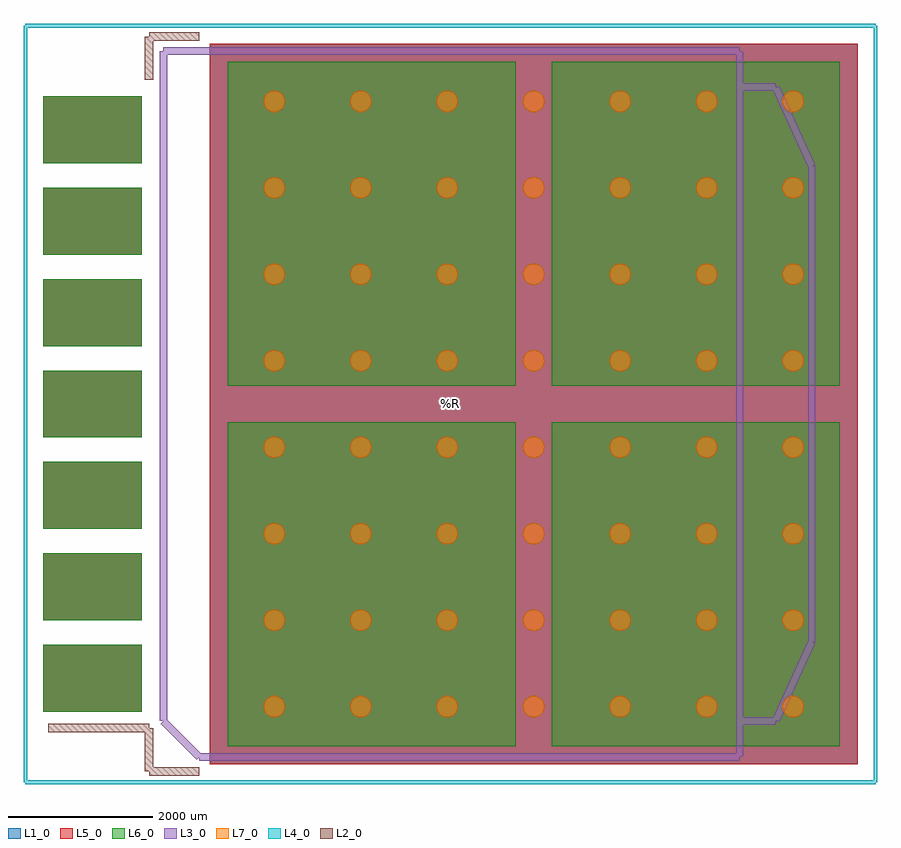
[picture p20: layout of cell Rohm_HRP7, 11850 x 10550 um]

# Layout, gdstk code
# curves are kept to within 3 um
import gdstk
lib = gdstk.Library(unit=1e-6, precision=1e-09)
def R(c, l, rs):  # rectangles x0, y0, x1, y1
    for r in rs: c.add(gdstk.rectangle(r[:2], r[2:], *l))
def A(c, l, x, y, w, h, nx, ny, dx, dy):  # array of equal rectangles
    R(c, l, [(x+i*dx, y+j*dy, x+i*dx+w, y+j*dy+h) for i in range(nx) for j in range(ny)])
def P(c, l, *ps):  # polygons
    for p in ps: c.add(gdstk.Polygon(p, *l))
L1_0 = (1, 0)
L2_0 = (2, 0)
L3_0 = (3, 0)
L4_0 = (4, 0)
L5_0 = (5, 0)
L6_0 = (6, 0)
L7_0 = (7, 0)

rohm_hrp7 = lib.new_cell('Rohm_HRP7')
A(rohm_hrp7, L1_0, -5655, -4275, 1370, 930, 1, 7, 0, 1270)
R(rohm_hrp7, L1_0, [(-3345,-5000,5655,5000), (-3345,-5000,5655,5000)])
P(rohm_hrp7, L1_0, [(-2145,-4200),(-2168,-4085),(-2233,-3988),(-2330,-3923),(-2445,-3900),(-2560,-3923),(-2657,-3988),(-2722,-4085),(-2745,-4200),(-2722,-4315),(-2657,-4412),(-2560,-4477),(-2445,-4500),(-2330,-4477),(-2233,-4412),(-2168,-4315)],
  [(-2145,-3000),(-2168,-2885),(-2233,-2788),(-2330,-2723),(-2445,-2700),(-2560,-2723),(-2657,-2788),(-2722,-2885),(-2745,-3000),(-2722,-3115),(-2657,-3212),(-2560,-3277),(-2445,-3300),(-2330,-3277),(-2233,-3212),(-2168,-3115)],
  [(-2145,-1800),(-2168,-1685),(-2233,-1588),(-2330,-1523),(-2445,-1500),(-2560,-1523),(-2657,-1588),(-2722,-1685),(-2745,-1800),(-2722,-1915),(-2657,-2012),(-2560,-2077),(-2445,-2100),(-2330,-2077),(-2233,-2012),(-2168,-1915)],
  [(-2145,-600),(-2168,-485),(-2233,-388),(-2330,-323),(-2445,-300),(-2560,-323),(-2657,-388),(-2722,-485),(-2745,-600),(-2722,-715),(-2657,-812),(-2560,-877),(-2445,-900),(-2330,-877),(-2233,-812),(-2168,-715)],
  [(-2145,600),(-2168,715),(-2233,812),(-2330,877),(-2445,900),(-2560,877),(-2657,812),(-2722,715),(-2745,600),(-2722,485),(-2657,388),(-2560,323),(-2445,300),(-2330,323),(-2233,388),(-2168,485)],
  [(-2145,1800),(-2168,1915),(-2233,2012),(-2330,2077),(-2445,2100),(-2560,2077),(-2657,2012),(-2722,1915),(-2745,1800),(-2722,1685),(-2657,1588),(-2560,1523),(-2445,1500),(-2330,1523),(-2233,1588),(-2168,1685)],
  [(-2145,3000),(-2168,3115),(-2233,3212),(-2330,3277),(-2445,3300),(-2560,3277),(-2657,3212),(-2722,3115),(-2745,3000),(-2722,2885),(-2657,2788),(-2560,2723),(-2445,2700),(-2330,2723),(-2233,2788),(-2168,2885)],
  [(-2145,4200),(-2168,4315),(-2233,4412),(-2330,4477),(-2445,4500),(-2560,4477),(-2657,4412),(-2722,4315),(-2745,4200),(-2722,4085),(-2657,3988),(-2560,3923),(-2445,3900),(-2330,3923),(-2233,3988),(-2168,4085)],
  [(-945,-4200),(-968,-4085),(-1033,-3988),(-1130,-3923),(-1245,-3900),(-1360,-3923),(-1457,-3988),(-1522,-4085),(-1545,-4200),(-1522,-4315),(-1457,-4412),(-1360,-4477),(-1245,-4500),(-1130,-4477),(-1033,-4412),(-968,-4315)],
  [(-945,-3000),(-968,-2885),(-1033,-2788),(-1130,-2723),(-1245,-2700),(-1360,-2723),(-1457,-2788),(-1522,-2885),(-1545,-3000),(-1522,-3115),(-1457,-3212),(-1360,-3277),(-1245,-3300),(-1130,-3277),(-1033,-3212),(-968,-3115)],
  [(-945,-1800),(-968,-1685),(-1033,-1588),(-1130,-1523),(-1245,-1500),(-1360,-1523),(-1457,-1588),(-1522,-1685),(-1545,-1800),(-1522,-1915),(-1457,-2012),(-1360,-2077),(-1245,-2100),(-1130,-2077),(-1033,-2012),(-968,-1915)],
  [(-945,-600),(-968,-485),(-1033,-388),(-1130,-323),(-1245,-300),(-1360,-323),(-1457,-388),(-1522,-485),(-1545,-600),(-1522,-715),(-1457,-812),(-1360,-877),(-1245,-900),(-1130,-877),(-1033,-812),(-968,-715)],
  [(-945,600),(-968,715),(-1033,812),(-1130,877),(-1245,900),(-1360,877),(-1457,812),(-1522,715),(-1545,600),(-1522,485),(-1457,388),(-1360,323),(-1245,300),(-1130,323),(-1033,388),(-968,485)],
  [(-945,1800),(-968,1915),(-1033,2012),(-1130,2077),(-1245,2100),(-1360,2077),(-1457,2012),(-1522,1915),(-1545,1800),(-1522,1685),(-1457,1588),(-1360,1523),(-1245,1500),(-1130,1523),(-1033,1588),(-968,1685)],
  [(-945,3000),(-968,3115),(-1033,3212),(-1130,3277),(-1245,3300),(-1360,3277),(-1457,3212),(-1522,3115),(-1545,3000),(-1522,2885),(-1457,2788),(-1360,2723),(-1245,2700),(-1130,2723),(-1033,2788),(-968,2885)],
  [(-945,4200),(-968,4315),(-1033,4412),(-1130,4477),(-1245,4500),(-1360,4477),(-1457,4412),(-1522,4315),(-1545,4200),(-1522,4085),(-1457,3988),(-1360,3923),(-1245,3900),(-1130,3923),(-1033,3988),(-968,4085)],
  [(255,-4200),(232,-4085),(167,-3988),(70,-3923),(-45,-3900),(-160,-3923),(-257,-3988),(-322,-4085),(-345,-4200),(-322,-4315),(-257,-4412),(-160,-4477),(-45,-4500),(70,-4477),(167,-4412),(232,-4315)],
  [(255,-3000),(232,-2885),(167,-2788),(70,-2723),(-45,-2700),(-160,-2723),(-257,-2788),(-322,-2885),(-345,-3000),(-322,-3115),(-257,-3212),(-160,-3277),(-45,-3300),(70,-3277),(167,-3212),(232,-3115)],
  [(255,-1800),(232,-1685),(167,-1588),(70,-1523),(-45,-1500),(-160,-1523),(-257,-1588),(-322,-1685),(-345,-1800),(-322,-1915),(-257,-2012),(-160,-2077),(-45,-2100),(70,-2077),(167,-2012),(232,-1915)],
  [(255,-600),(232,-485),(167,-388),(70,-323),(-45,-300),(-160,-323),(-257,-388),(-322,-485),(-345,-600),(-322,-715),(-257,-812),(-160,-877),(-45,-900),(70,-877),(167,-812),(232,-715)],
  [(255,600),(232,715),(167,812),(70,877),(-45,900),(-160,877),(-257,812),(-322,715),(-345,600),(-322,485),(-257,388),(-160,323),(-45,300),(70,323),(167,388),(232,485)],
  [(255,1800),(232,1915),(167,2012),(70,2077),(-45,2100),(-160,2077),(-257,2012),(-322,1915),(-345,1800),(-322,1685),(-257,1588),(-160,1523),(-45,1500),(70,1523),(167,1588),(232,1685)],
  [(255,3000),(232,3115),(167,3212),(70,3277),(-45,3300),(-160,3277),(-257,3212),(-322,3115),(-345,3000),(-322,2885),(-257,2788),(-160,2723),(-45,2700),(70,2723),(167,2788),(232,2885)],
  [(255,4200),(232,4315),(167,4412),(70,4477),(-45,4500),(-160,4477),(-257,4412),(-322,4315),(-345,4200),(-322,4085),(-257,3988),(-160,3923),(-45,3900),(70,3923),(167,3988),(232,4085)],
  [(1455,-4200),(1432,-4085),(1367,-3988),(1270,-3923),(1155,-3900),(1040,-3923),(943,-3988),(878,-4085),(855,-4200),(878,-4315),(943,-4412),(1040,-4477),(1155,-4500),(1270,-4477),(1367,-4412),(1432,-4315)],
  [(1455,-3000),(1432,-2885),(1367,-2788),(1270,-2723),(1155,-2700),(1040,-2723),(943,-2788),(878,-2885),(855,-3000),(878,-3115),(943,-3212),(1040,-3277),(1155,-3300),(1270,-3277),(1367,-3212),(1432,-3115)],
  [(1455,-1800),(1432,-1685),(1367,-1588),(1270,-1523),(1155,-1500),(1040,-1523),(943,-1588),(878,-1685),(855,-1800),(878,-1915),(943,-2012),(1040,-2077),(1155,-2100),(1270,-2077),(1367,-2012),(1432,-1915)],
  [(1455,-600),(1432,-485),(1367,-388),(1270,-323),(1155,-300),(1040,-323),(943,-388),(878,-485),(855,-600),(878,-715),(943,-812),(1040,-877),(1155,-900),(1270,-877),(1367,-812),(1432,-715)],
  [(1455,600),(1432,715),(1367,812),(1270,877),(1155,900),(1040,877),(943,812),(878,715),(855,600),(878,485),(943,388),(1040,323),(1155,300),(1270,323),(1367,388),(1432,485)],
  [(1455,1800),(1432,1915),(1367,2012),(1270,2077),(1155,2100),(1040,2077),(943,2012),(878,1915),(855,1800),(878,1685),(943,1588),(1040,1523),(1155,1500),(1270,1523),(1367,1588),(1432,1685)],
  [(1455,3000),(1432,3115),(1367,3212),(1270,3277),(1155,3300),(1040,3277),(943,3212),(878,3115),(855,3000),(878,2885),(943,2788),(1040,2723),(1155,2700),(1270,2723),(1367,2788),(1432,2885)],
  [(1455,4200),(1432,4315),(1367,4412),(1270,4477),(1155,4500),(1040,4477),(943,4412),(878,4315),(855,4200),(878,4085),(943,3988),(1040,3923),(1155,3900),(1270,3923),(1367,3988),(1432,4085)],
  [(2655,-4200),(2632,-4085),(2567,-3988),(2470,-3923),(2355,-3900),(2240,-3923),(2143,-3988),(2078,-4085),(2055,-4200),(2078,-4315),(2143,-4412),(2240,-4477),(2355,-4500),(2470,-4477),(2567,-4412),(2632,-4315)],
  [(2655,-3000),(2632,-2885),(2567,-2788),(2470,-2723),(2355,-2700),(2240,-2723),(2143,-2788),(2078,-2885),(2055,-3000),(2078,-3115),(2143,-3212),(2240,-3277),(2355,-3300),(2470,-3277),(2567,-3212),(2632,-3115)],
  [(2655,-1800),(2632,-1685),(2567,-1588),(2470,-1523),(2355,-1500),(2240,-1523),(2143,-1588),(2078,-1685),(2055,-1800),(2078,-1915),(2143,-2012),(2240,-2077),(2355,-2100),(2470,-2077),(2567,-2012),(2632,-1915)],
  [(2655,-600),(2632,-485),(2567,-388),(2470,-323),(2355,-300),(2240,-323),(2143,-388),(2078,-485),(2055,-600),(2078,-715),(2143,-812),(2240,-877),(2355,-900),(2470,-877),(2567,-812),(2632,-715)],
  [(2655,600),(2632,715),(2567,812),(2470,877),(2355,900),(2240,877),(2143,812),(2078,715),(2055,600),(2078,485),(2143,388),(2240,323),(2355,300),(2470,323),(2567,388),(2632,485)],
  [(2655,1800),(2632,1915),(2567,2012),(2470,2077),(2355,2100),(2240,2077),(2143,2012),(2078,1915),(2055,1800),(2078,1685),(2143,1588),(2240,1523),(2355,1500),(2470,1523),(2567,1588),(2632,1685)],
  [(2655,3000),(2632,3115),(2567,3212),(2470,3277),(2355,3300),(2240,3277),(2143,3212),(2078,3115),(2055,3000),(2078,2885),(2143,2788),(2240,2723),(2355,2700),(2470,2723),(2567,2788),(2632,2885)],
  [(2655,4200),(2632,4315),(2567,4412),(2470,4477),(2355,4500),(2240,4477),(2143,4412),(2078,4315),(2055,4200),(2078,4085),(2143,3988),(2240,3923),(2355,3900),(2470,3923),(2567,3988),(2632,4085)],
  [(3855,-4200),(3832,-4085),(3767,-3988),(3670,-3923),(3555,-3900),(3440,-3923),(3343,-3988),(3278,-4085),(3255,-4200),(3278,-4315),(3343,-4412),(3440,-4477),(3555,-4500),(3670,-4477),(3767,-4412),(3832,-4315)],
  [(3855,-3000),(3832,-2885),(3767,-2788),(3670,-2723),(3555,-2700),(3440,-2723),(3343,-2788),(3278,-2885),(3255,-3000),(3278,-3115),(3343,-3212),(3440,-3277),(3555,-3300),(3670,-3277),(3767,-3212),(3832,-3115)],
  [(3855,-1800),(3832,-1685),(3767,-1588),(3670,-1523),(3555,-1500),(3440,-1523),(3343,-1588),(3278,-1685),(3255,-1800),(3278,-1915),(3343,-2012),(3440,-2077),(3555,-2100),(3670,-2077),(3767,-2012),(3832,-1915)],
  [(3855,-600),(3832,-485),(3767,-388),(3670,-323),(3555,-300),(3440,-323),(3343,-388),(3278,-485),(3255,-600),(3278,-715),(3343,-812),(3440,-877),(3555,-900),(3670,-877),(3767,-812),(3832,-715)],
  [(3855,600),(3832,715),(3767,812),(3670,877),(3555,900),(3440,877),(3343,812),(3278,715),(3255,600),(3278,485),(3343,388),(3440,323),(3555,300),(3670,323),(3767,388),(3832,485)],
  [(3855,1800),(3832,1915),(3767,2012),(3670,2077),(3555,2100),(3440,2077),(3343,2012),(3278,1915),(3255,1800),(3278,1685),(3343,1588),(3440,1523),(3555,1500),(3670,1523),(3767,1588),(3832,1685)],
  [(3855,3000),(3832,3115),(3767,3212),(3670,3277),(3555,3300),(3440,3277),(3343,3212),(3278,3115),(3255,3000),(3278,2885),(3343,2788),(3440,2723),(3555,2700),(3670,2723),(3767,2788),(3832,2885)],
  [(3855,4200),(3832,4315),(3767,4412),(3670,4477),(3555,4500),(3440,4477),(3343,4412),(3278,4315),(3255,4200),(3278,4085),(3343,3988),(3440,3923),(3555,3900),(3670,3923),(3767,3988),(3832,4085)],
  [(5055,-4200),(5032,-4085),(4967,-3988),(4870,-3923),(4755,-3900),(4640,-3923),(4543,-3988),(4478,-4085),(4455,-4200),(4478,-4315),(4543,-4412),(4640,-4477),(4755,-4500),(4870,-4477),(4967,-4412),(5032,-4315)],
  [(5055,-3000),(5032,-2885),(4967,-2788),(4870,-2723),(4755,-2700),(4640,-2723),(4543,-2788),(4478,-2885),(4455,-3000),(4478,-3115),(4543,-3212),(4640,-3277),(4755,-3300),(4870,-3277),(4967,-3212),(5032,-3115)],
  [(5055,-1800),(5032,-1685),(4967,-1588),(4870,-1523),(4755,-1500),(4640,-1523),(4543,-1588),(4478,-1685),(4455,-1800),(4478,-1915),(4543,-2012),(4640,-2077),(4755,-2100),(4870,-2077),(4967,-2012),(5032,-1915)],
  [(5055,-600),(5032,-485),(4967,-388),(4870,-323),(4755,-300),(4640,-323),(4543,-388),(4478,-485),(4455,-600),(4478,-715),(4543,-812),(4640,-877),(4755,-900),(4870,-877),(4967,-812),(5032,-715)],
  [(5055,600),(5032,715),(4967,812),(4870,877),(4755,900),(4640,877),(4543,812),(4478,715),(4455,600),(4478,485),(4543,388),(4640,323),(4755,300),(4870,323),(4967,388),(5032,485)],
  [(5055,1800),(5032,1915),(4967,2012),(4870,2077),(4755,2100),(4640,2077),(4543,2012),(4478,1915),(4455,1800),(4478,1685),(4543,1588),(4640,1523),(4755,1500),(4870,1523),(4967,1588),(5032,1685)],
  [(5055,3000),(5032,3115),(4967,3212),(4870,3277),(4755,3300),(4640,3277),(4543,3212),(4478,3115),(4455,3000),(4478,2885),(4543,2788),(4640,2723),(4755,2700),(4870,2723),(4967,2788),(5032,2885)],
  [(5055,4200),(5032,4315),(4967,4412),(4870,4477),(4755,4500),(4640,4477),(4543,4412),(4478,4315),(4455,4200),(4478,4085),(4543,3988),(4640,3923),(4755,3900),(4870,3923),(4967,3988),(5032,4085)])
A(rohm_hrp7, L5_0, -5655, -4275, 1370, 930, 1, 7, 0, 1270)
R(rohm_hrp7, L5_0, [(-3345,-5000,5655,5000)])
A(rohm_hrp7, L6_0, -5655, -4275, 1370, 930, 1, 7, 0, 1270)
R(rohm_hrp7, L6_0, [(-3095,-4750,905,-250), (1405,-4750,5405,-250), (-3095,250,905,4750), (1405,250,5405,4750)])
P(rohm_hrp7, L7_0, [(-2295,-4200),(-2306,-4143),(-2339,-4094),(-2388,-4061),(-2445,-4050),(-2502,-4061),(-2551,-4094),(-2584,-4143),(-2595,-4200),(-2584,-4257),(-2551,-4306),(-2502,-4339),(-2445,-4350),(-2388,-4339),(-2339,-4306),(-2306,-4257)],
  [(-2295,-3000),(-2306,-2943),(-2339,-2894),(-2388,-2861),(-2445,-2850),(-2502,-2861),(-2551,-2894),(-2584,-2943),(-2595,-3000),(-2584,-3057),(-2551,-3106),(-2502,-3139),(-2445,-3150),(-2388,-3139),(-2339,-3106),(-2306,-3057)],
  [(-2295,-1800),(-2306,-1743),(-2339,-1694),(-2388,-1661),(-2445,-1650),(-2502,-1661),(-2551,-1694),(-2584,-1743),(-2595,-1800),(-2584,-1857),(-2551,-1906),(-2502,-1939),(-2445,-1950),(-2388,-1939),(-2339,-1906),(-2306,-1857)],
  [(-2295,-600),(-2306,-543),(-2339,-494),(-2388,-461),(-2445,-450),(-2502,-461),(-2551,-494),(-2584,-543),(-2595,-600),(-2584,-657),(-2551,-706),(-2502,-739),(-2445,-750),(-2388,-739),(-2339,-706),(-2306,-657)],
  [(-2295,600),(-2306,657),(-2339,706),(-2388,739),(-2445,750),(-2502,739),(-2551,706),(-2584,657),(-2595,600),(-2584,543),(-2551,494),(-2502,461),(-2445,450),(-2388,461),(-2339,494),(-2306,543)],
  [(-2295,1800),(-2306,1857),(-2339,1906),(-2388,1939),(-2445,1950),(-2502,1939),(-2551,1906),(-2584,1857),(-2595,1800),(-2584,1743),(-2551,1694),(-2502,1661),(-2445,1650),(-2388,1661),(-2339,1694),(-2306,1743)],
  [(-2295,3000),(-2306,3057),(-2339,3106),(-2388,3139),(-2445,3150),(-2502,3139),(-2551,3106),(-2584,3057),(-2595,3000),(-2584,2943),(-2551,2894),(-2502,2861),(-2445,2850),(-2388,2861),(-2339,2894),(-2306,2943)],
  [(-2295,4200),(-2306,4257),(-2339,4306),(-2388,4339),(-2445,4350),(-2502,4339),(-2551,4306),(-2584,4257),(-2595,4200),(-2584,4143),(-2551,4094),(-2502,4061),(-2445,4050),(-2388,4061),(-2339,4094),(-2306,4143)],
  [(-1095,-4200),(-1106,-4143),(-1139,-4094),(-1188,-4061),(-1245,-4050),(-1302,-4061),(-1351,-4094),(-1384,-4143),(-1395,-4200),(-1384,-4257),(-1351,-4306),(-1302,-4339),(-1245,-4350),(-1188,-4339),(-1139,-4306),(-1106,-4257)],
  [(-1095,-3000),(-1106,-2943),(-1139,-2894),(-1188,-2861),(-1245,-2850),(-1302,-2861),(-1351,-2894),(-1384,-2943),(-1395,-3000),(-1384,-3057),(-1351,-3106),(-1302,-3139),(-1245,-3150),(-1188,-3139),(-1139,-3106),(-1106,-3057)],
  [(-1095,-1800),(-1106,-1743),(-1139,-1694),(-1188,-1661),(-1245,-1650),(-1302,-1661),(-1351,-1694),(-1384,-1743),(-1395,-1800),(-1384,-1857),(-1351,-1906),(-1302,-1939),(-1245,-1950),(-1188,-1939),(-1139,-1906),(-1106,-1857)],
  [(-1095,-600),(-1106,-543),(-1139,-494),(-1188,-461),(-1245,-450),(-1302,-461),(-1351,-494),(-1384,-543),(-1395,-600),(-1384,-657),(-1351,-706),(-1302,-739),(-1245,-750),(-1188,-739),(-1139,-706),(-1106,-657)],
  [(-1095,600),(-1106,657),(-1139,706),(-1188,739),(-1245,750),(-1302,739),(-1351,706),(-1384,657),(-1395,600),(-1384,543),(-1351,494),(-1302,461),(-1245,450),(-1188,461),(-1139,494),(-1106,543)],
  [(-1095,1800),(-1106,1857),(-1139,1906),(-1188,1939),(-1245,1950),(-1302,1939),(-1351,1906),(-1384,1857),(-1395,1800),(-1384,1743),(-1351,1694),(-1302,1661),(-1245,1650),(-1188,1661),(-1139,1694),(-1106,1743)],
  [(-1095,3000),(-1106,3057),(-1139,3106),(-1188,3139),(-1245,3150),(-1302,3139),(-1351,3106),(-1384,3057),(-1395,3000),(-1384,2943),(-1351,2894),(-1302,2861),(-1245,2850),(-1188,2861),(-1139,2894),(-1106,2943)],
  [(-1095,4200),(-1106,4257),(-1139,4306),(-1188,4339),(-1245,4350),(-1302,4339),(-1351,4306),(-1384,4257),(-1395,4200),(-1384,4143),(-1351,4094),(-1302,4061),(-1245,4050),(-1188,4061),(-1139,4094),(-1106,4143)],
  [(105,-4200),(94,-4143),(61,-4094),(12,-4061),(-45,-4050),(-102,-4061),(-151,-4094),(-184,-4143),(-195,-4200),(-184,-4257),(-151,-4306),(-102,-4339),(-45,-4350),(12,-4339),(61,-4306),(94,-4257)],
  [(105,-3000),(94,-2943),(61,-2894),(12,-2861),(-45,-2850),(-102,-2861),(-151,-2894),(-184,-2943),(-195,-3000),(-184,-3057),(-151,-3106),(-102,-3139),(-45,-3150),(12,-3139),(61,-3106),(94,-3057)],
  [(105,-1800),(94,-1743),(61,-1694),(12,-1661),(-45,-1650),(-102,-1661),(-151,-1694),(-184,-1743),(-195,-1800),(-184,-1857),(-151,-1906),(-102,-1939),(-45,-1950),(12,-1939),(61,-1906),(94,-1857)],
  [(105,-600),(94,-543),(61,-494),(12,-461),(-45,-450),(-102,-461),(-151,-494),(-184,-543),(-195,-600),(-184,-657),(-151,-706),(-102,-739),(-45,-750),(12,-739),(61,-706),(94,-657)],
  [(105,600),(94,657),(61,706),(12,739),(-45,750),(-102,739),(-151,706),(-184,657),(-195,600),(-184,543),(-151,494),(-102,461),(-45,450),(12,461),(61,494),(94,543)],
  [(105,1800),(94,1857),(61,1906),(12,1939),(-45,1950),(-102,1939),(-151,1906),(-184,1857),(-195,1800),(-184,1743),(-151,1694),(-102,1661),(-45,1650),(12,1661),(61,1694),(94,1743)],
  [(105,3000),(94,3057),(61,3106),(12,3139),(-45,3150),(-102,3139),(-151,3106),(-184,3057),(-195,3000),(-184,2943),(-151,2894),(-102,2861),(-45,2850),(12,2861),(61,2894),(94,2943)],
  [(105,4200),(94,4257),(61,4306),(12,4339),(-45,4350),(-102,4339),(-151,4306),(-184,4257),(-195,4200),(-184,4143),(-151,4094),(-102,4061),(-45,4050),(12,4061),(61,4094),(94,4143)],
  [(1305,-4200),(1294,-4143),(1261,-4094),(1212,-4061),(1155,-4050),(1098,-4061),(1049,-4094),(1016,-4143),(1005,-4200),(1016,-4257),(1049,-4306),(1098,-4339),(1155,-4350),(1212,-4339),(1261,-4306),(1294,-4257)],
  [(1305,-3000),(1294,-2943),(1261,-2894),(1212,-2861),(1155,-2850),(1098,-2861),(1049,-2894),(1016,-2943),(1005,-3000),(1016,-3057),(1049,-3106),(1098,-3139),(1155,-3150),(1212,-3139),(1261,-3106),(1294,-3057)],
  [(1305,-1800),(1294,-1743),(1261,-1694),(1212,-1661),(1155,-1650),(1098,-1661),(1049,-1694),(1016,-1743),(1005,-1800),(1016,-1857),(1049,-1906),(1098,-1939),(1155,-1950),(1212,-1939),(1261,-1906),(1294,-1857)],
  [(1305,-600),(1294,-543),(1261,-494),(1212,-461),(1155,-450),(1098,-461),(1049,-494),(1016,-543),(1005,-600),(1016,-657),(1049,-706),(1098,-739),(1155,-750),(1212,-739),(1261,-706),(1294,-657)],
  [(1305,600),(1294,657),(1261,706),(1212,739),(1155,750),(1098,739),(1049,706),(1016,657),(1005,600),(1016,543),(1049,494),(1098,461),(1155,450),(1212,461),(1261,494),(1294,543)],
  [(1305,1800),(1294,1857),(1261,1906),(1212,1939),(1155,1950),(1098,1939),(1049,1906),(1016,1857),(1005,1800),(1016,1743),(1049,1694),(1098,1661),(1155,1650),(1212,1661),(1261,1694),(1294,1743)],
  [(1305,3000),(1294,3057),(1261,3106),(1212,3139),(1155,3150),(1098,3139),(1049,3106),(1016,3057),(1005,3000),(1016,2943),(1049,2894),(1098,2861),(1155,2850),(1212,2861),(1261,2894),(1294,2943)],
  [(1305,4200),(1294,4257),(1261,4306),(1212,4339),(1155,4350),(1098,4339),(1049,4306),(1016,4257),(1005,4200),(1016,4143),(1049,4094),(1098,4061),(1155,4050),(1212,4061),(1261,4094),(1294,4143)],
  [(2505,-4200),(2494,-4143),(2461,-4094),(2412,-4061),(2355,-4050),(2298,-4061),(2249,-4094),(2216,-4143),(2205,-4200),(2216,-4257),(2249,-4306),(2298,-4339),(2355,-4350),(2412,-4339),(2461,-4306),(2494,-4257)],
  [(2505,-3000),(2494,-2943),(2461,-2894),(2412,-2861),(2355,-2850),(2298,-2861),(2249,-2894),(2216,-2943),(2205,-3000),(2216,-3057),(2249,-3106),(2298,-3139),(2355,-3150),(2412,-3139),(2461,-3106),(2494,-3057)],
  [(2505,-1800),(2494,-1743),(2461,-1694),(2412,-1661),(2355,-1650),(2298,-1661),(2249,-1694),(2216,-1743),(2205,-1800),(2216,-1857),(2249,-1906),(2298,-1939),(2355,-1950),(2412,-1939),(2461,-1906),(2494,-1857)],
  [(2505,-600),(2494,-543),(2461,-494),(2412,-461),(2355,-450),(2298,-461),(2249,-494),(2216,-543),(2205,-600),(2216,-657),(2249,-706),(2298,-739),(2355,-750),(2412,-739),(2461,-706),(2494,-657)],
  [(2505,600),(2494,657),(2461,706),(2412,739),(2355,750),(2298,739),(2249,706),(2216,657),(2205,600),(2216,543),(2249,494),(2298,461),(2355,450),(2412,461),(2461,494),(2494,543)],
  [(2505,1800),(2494,1857),(2461,1906),(2412,1939),(2355,1950),(2298,1939),(2249,1906),(2216,1857),(2205,1800),(2216,1743),(2249,1694),(2298,1661),(2355,1650),(2412,1661),(2461,1694),(2494,1743)],
  [(2505,3000),(2494,3057),(2461,3106),(2412,3139),(2355,3150),(2298,3139),(2249,3106),(2216,3057),(2205,3000),(2216,2943),(2249,2894),(2298,2861),(2355,2850),(2412,2861),(2461,2894),(2494,2943)],
  [(2505,4200),(2494,4257),(2461,4306),(2412,4339),(2355,4350),(2298,4339),(2249,4306),(2216,4257),(2205,4200),(2216,4143),(2249,4094),(2298,4061),(2355,4050),(2412,4061),(2461,4094),(2494,4143)],
  [(3705,-4200),(3694,-4143),(3661,-4094),(3612,-4061),(3555,-4050),(3498,-4061),(3449,-4094),(3416,-4143),(3405,-4200),(3416,-4257),(3449,-4306),(3498,-4339),(3555,-4350),(3612,-4339),(3661,-4306),(3694,-4257)],
  [(3705,-3000),(3694,-2943),(3661,-2894),(3612,-2861),(3555,-2850),(3498,-2861),(3449,-2894),(3416,-2943),(3405,-3000),(3416,-3057),(3449,-3106),(3498,-3139),(3555,-3150),(3612,-3139),(3661,-3106),(3694,-3057)],
  [(3705,-1800),(3694,-1743),(3661,-1694),(3612,-1661),(3555,-1650),(3498,-1661),(3449,-1694),(3416,-1743),(3405,-1800),(3416,-1857),(3449,-1906),(3498,-1939),(3555,-1950),(3612,-1939),(3661,-1906),(3694,-1857)],
  [(3705,-600),(3694,-543),(3661,-494),(3612,-461),(3555,-450),(3498,-461),(3449,-494),(3416,-543),(3405,-600),(3416,-657),(3449,-706),(3498,-739),(3555,-750),(3612,-739),(3661,-706),(3694,-657)],
  [(3705,600),(3694,657),(3661,706),(3612,739),(3555,750),(3498,739),(3449,706),(3416,657),(3405,600),(3416,543),(3449,494),(3498,461),(3555,450),(3612,461),(3661,494),(3694,543)],
  [(3705,1800),(3694,1857),(3661,1906),(3612,1939),(3555,1950),(3498,1939),(3449,1906),(3416,1857),(3405,1800),(3416,1743),(3449,1694),(3498,1661),(3555,1650),(3612,1661),(3661,1694),(3694,1743)],
  [(3705,3000),(3694,3057),(3661,3106),(3612,3139),(3555,3150),(3498,3139),(3449,3106),(3416,3057),(3405,3000),(3416,2943),(3449,2894),(3498,2861),(3555,2850),(3612,2861),(3661,2894),(3694,2943)],
  [(3705,4200),(3694,4257),(3661,4306),(3612,4339),(3555,4350),(3498,4339),(3449,4306),(3416,4257),(3405,4200),(3416,4143),(3449,4094),(3498,4061),(3555,4050),(3612,4061),(3661,4094),(3694,4143)],
  [(4905,-4200),(4894,-4143),(4861,-4094),(4812,-4061),(4755,-4050),(4698,-4061),(4649,-4094),(4616,-4143),(4605,-4200),(4616,-4257),(4649,-4306),(4698,-4339),(4755,-4350),(4812,-4339),(4861,-4306),(4894,-4257)],
  [(4905,-3000),(4894,-2943),(4861,-2894),(4812,-2861),(4755,-2850),(4698,-2861),(4649,-2894),(4616,-2943),(4605,-3000),(4616,-3057),(4649,-3106),(4698,-3139),(4755,-3150),(4812,-3139),(4861,-3106),(4894,-3057)],
  [(4905,-1800),(4894,-1743),(4861,-1694),(4812,-1661),(4755,-1650),(4698,-1661),(4649,-1694),(4616,-1743),(4605,-1800),(4616,-1857),(4649,-1906),(4698,-1939),(4755,-1950),(4812,-1939),(4861,-1906),(4894,-1857)],
  [(4905,-600),(4894,-543),(4861,-494),(4812,-461),(4755,-450),(4698,-461),(4649,-494),(4616,-543),(4605,-600),(4616,-657),(4649,-706),(4698,-739),(4755,-750),(4812,-739),(4861,-706),(4894,-657)],
  [(4905,600),(4894,657),(4861,706),(4812,739),(4755,750),(4698,739),(4649,706),(4616,657),(4605,600),(4616,543),(4649,494),(4698,461),(4755,450),(4812,461),(4861,494),(4894,543)],
  [(4905,1800),(4894,1857),(4861,1906),(4812,1939),(4755,1950),(4698,1939),(4649,1906),(4616,1857),(4605,1800),(4616,1743),(4649,1694),(4698,1661),(4755,1650),(4812,1661),(4861,1694),(4894,1743)],
  [(4905,3000),(4894,3057),(4861,3106),(4812,3139),(4755,3150),(4698,3139),(4649,3106),(4616,3057),(4605,3000),(4616,2943),(4649,2894),(4698,2861),(4755,2850),(4812,2861),(4861,2894),(4894,2943)],
  [(4905,4200),(4894,4257),(4861,4306),(4812,4339),(4755,4350),(4698,4339),(4649,4306),(4616,4257),(4605,4200),(4616,4143),(4649,4094),(4698,4061),(4755,4050),(4812,4061),(4861,4094),(4894,4143)])
rohm_hrp7.add(gdstk.FlexPath([(-3485,5100),(-4185,5100)], 120, ends="flush", simple_path=True, layer=2, datatype=0))  # L2_0
rohm_hrp7.add(gdstk.FlexPath([(-4185,5100),(-4185,4500)], 120, ends="flush", simple_path=True, layer=2, datatype=0))  # L2_0
rohm_hrp7.add(gdstk.FlexPath([(-5585,-4500),(-4185,-4500)], 120, ends="flush", simple_path=True, layer=2, datatype=0))  # L2_0
rohm_hrp7.add(gdstk.FlexPath([(-4185,-4500),(-4185,-5100)], 120, ends="flush", simple_path=True, layer=2, datatype=0))  # L2_0
rohm_hrp7.add(gdstk.FlexPath([(-4185,-5100),(-3485,-5100)], 120, ends="flush", simple_path=True, layer=2, datatype=0))  # L2_0
rohm_hrp7.add(gdstk.FlexPath([(4015,-4400),(4515,-4400)], 100, ends="flush", simple_path=True, layer=3, datatype=0))  # L3_0
rohm_hrp7.add(gdstk.FlexPath([(4515,-4400),(5015,-3300)], 100, ends="flush", simple_path=True, layer=3, datatype=0))  # L3_0
rohm_hrp7.add(gdstk.FlexPath([(5015,-3300),(5015,3300)], 100, ends="flush", simple_path=True, layer=3, datatype=0))  # L3_0
rohm_hrp7.add(gdstk.FlexPath([(5015,3300),(4515,4400)], 100, ends="flush", simple_path=True, layer=3, datatype=0))  # L3_0
rohm_hrp7.add(gdstk.FlexPath([(4515,4400),(4015,4400)], 100, ends="flush", simple_path=True, layer=3, datatype=0))  # L3_0
rohm_hrp7.add(gdstk.FlexPath([(4015,-4900),(4015,4900)], 100, ends="flush", simple_path=True, layer=3, datatype=0))  # L3_0
rohm_hrp7.add(gdstk.FlexPath([(4015,4900),(-3985,4900)], 100, ends="flush", simple_path=True, layer=3, datatype=0))  # L3_0
rohm_hrp7.add(gdstk.FlexPath([(-3985,4900),(-3985,-4400)], 100, ends="flush", simple_path=True, layer=3, datatype=0))  # L3_0
rohm_hrp7.add(gdstk.FlexPath([(-3985,-4400),(-3485,-4900)], 100, ends="flush", simple_path=True, layer=3, datatype=0))  # L3_0
rohm_hrp7.add(gdstk.FlexPath([(-3485,-4900),(4015,-4900)], 100, ends="flush", simple_path=True, layer=3, datatype=0))  # L3_0
rohm_hrp7.add(gdstk.FlexPath([(-5900,-5250),(5900,-5250)], 50, ends="flush", simple_path=True, layer=4, datatype=0))  # L4_0
rohm_hrp7.add(gdstk.FlexPath([(-5900,-5250),(-5900,5250)], 50, ends="flush", simple_path=True, layer=4, datatype=0))  # L4_0
rohm_hrp7.add(gdstk.FlexPath([(5900,5250),(5900,-5250)], 50, ends="flush", simple_path=True, layer=4, datatype=0))  # L4_0
rohm_hrp7.add(gdstk.FlexPath([(5900,5250),(-5900,5250)], 50, ends="flush", simple_path=True, layer=4, datatype=0))  # L4_0
rohm_hrp7.add(gdstk.Label('REF**', (0,-5900), layer=2, texttype=0))
rohm_hrp7.add(gdstk.Label('Rohm_HRP7', (0,6000), layer=3, texttype=0))
rohm_hrp7.add(gdstk.Label('%R', (0,0), layer=3, texttype=0))

lib.write_gds('Rohm_HRP7.gds')
